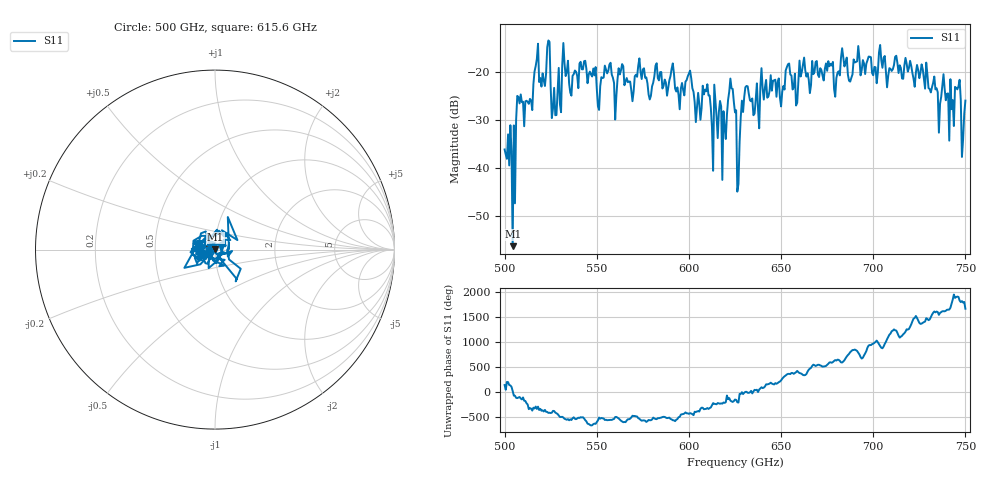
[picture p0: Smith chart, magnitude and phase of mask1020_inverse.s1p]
!Created with skrf (http://scikit-rf.org).
# GHz S MA R 50.0
!freq magS11 angS11
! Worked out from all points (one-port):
!   401 points, 500 GHz to 750 GHz, reference 50 ohm
!   lowest |S11| = -56.4 dB at 504.4 GHz (marker M1), VSWR 1.00, Z = 50.1 + j0.0584 ohm
!   |S11| at or under -10 dB: start of sweep to end of sweep
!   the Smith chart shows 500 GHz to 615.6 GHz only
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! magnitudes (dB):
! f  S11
! 500 GHz  -36.2
! 504.4 GHz  -56.4
! 507.5 GHz  -25.3
! 513.8 GHz  -25.7
! 516.9 GHz  -18.8
! 520.6 GHz  -20.4
! 523.8 GHz  -13.5
! 526.9 GHz  -23.4
! 531.2 GHz  -18.7
! 542.5 GHz  -19.5
! 551.2 GHz  -28.0
! 562.5 GHz  -20.6
! 578.8 GHz  -25.8
! 590.6 GHz  -19.4
! 593.8 GHz  -23.3
! 608.8 GHz  -23.8
! 619.4 GHz  -31.5
! 623.1 GHz  -23.5
! 625 GHz  -28.5
! 626.9 GHz  -43.4
! 631.2 GHz  -23.0
! 636.9 GHz  -22.4
! 656.2 GHz  -23.7
! 680 GHz  -21.4
! 684.4 GHz  -18.9
! 687.5 GHz  -22.1
! 718.8 GHz  -20.0
! 750 GHz  -26.0
